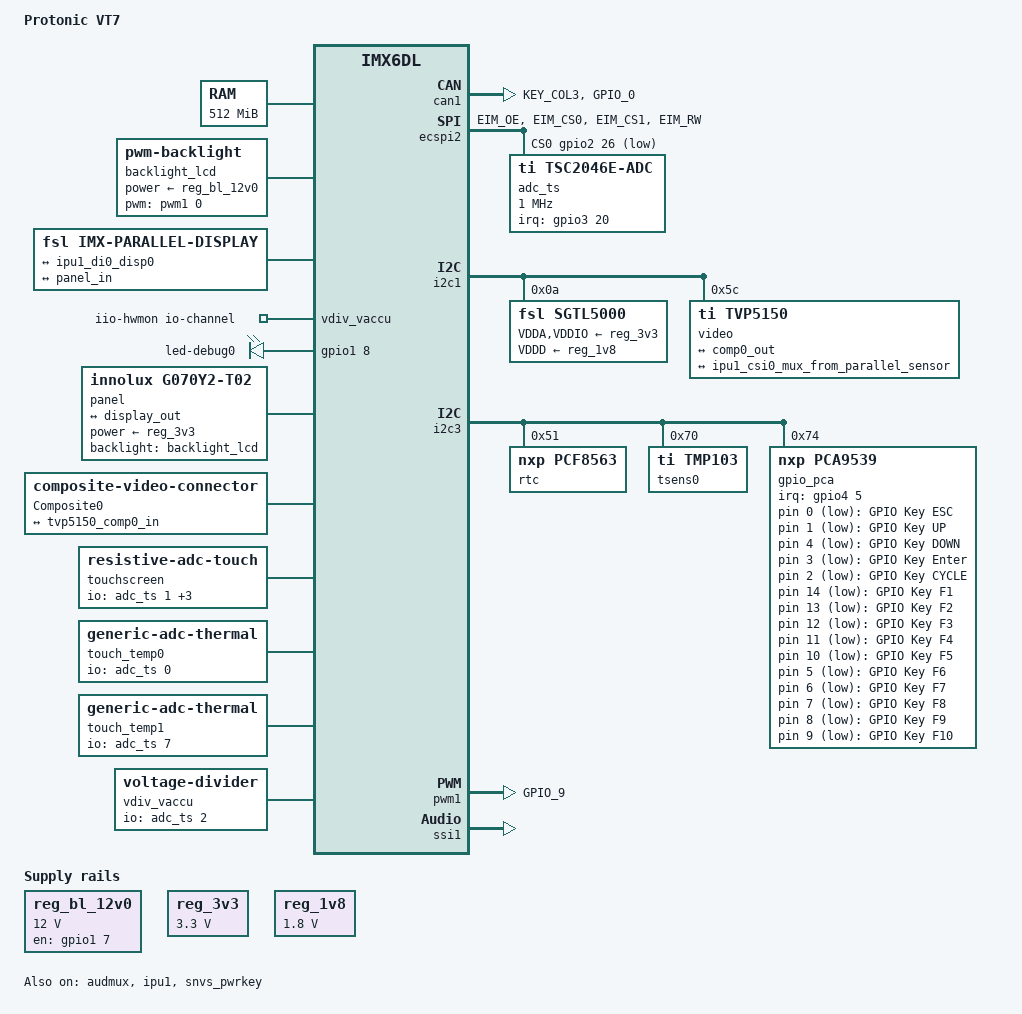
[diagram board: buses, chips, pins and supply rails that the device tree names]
// SPDX-License-Identifier: GPL-2.0-or-later OR MIT
/*
 * Copyright (c) 2016 Protonic Holland
 */

/dts-v1/;
#include "imx6dl.dtsi"
#include "imx6qdl-prti6q.dtsi"
#include <dt-bindings/display/sdtv-standards.h>
#include <dt-bindings/input/input.h>
#include <dt-bindings/leds/common.h>
#include <dt-bindings/sound/fsl-imx-audmux.h>

/ {
	model = "Protonic VT7";
	compatible = "prt,prtvt7", "fsl,imx6dl";

	memory@10000000 {
		device_type = "memory";
		reg = <0x10000000 0x20000000>;
	};

	backlight_lcd: backlight-lcd {
		compatible = "pwm-backlight";
		pwms = <&pwm1 0 500000 0>;
		brightness-levels = <0 20 81 248 1000>;
		default-brightness-level = <20>;
		num-interpolated-steps = <21>;
		power-supply = <&reg_bl_12v0>;
	};

	display {
		compatible = "fsl,imx-parallel-display";
		pinctrl-0 = <&pinctrl_ipu1_disp>;
		pinctrl-names = "default";
		#address-cells = <1>;
		#size-cells = <0>;

		port@0 {
			reg = <0>;

			display_in: endpoint {
				remote-endpoint = <&ipu1_di0_disp0>;
			};
		};

		port@1 {
			reg = <1>;

			display_out: endpoint {
				remote-endpoint = <&panel_in>;
			};
		};
	};

	iio-hwmon {
		compatible = "iio-hwmon";
		io-channels = <&vdiv_vaccu>;
	};

	keys {
		compatible = "gpio-keys";
		autorepeat;

		key-esc {
			label = "GPIO Key ESC";
			linux,code = <KEY_ESC>;
			gpios = <&gpio_pca 0 GPIO_ACTIVE_LOW>;
		};

		key-up {
			label = "GPIO Key UP";
			linux,code = <KEY_UP>;
			gpios = <&gpio_pca 1 GPIO_ACTIVE_LOW>;
		};

		key-down {
			label = "GPIO Key DOWN";
			linux,code = <KEY_DOWN>;
			gpios = <&gpio_pca 4 GPIO_ACTIVE_LOW>;
		};

		key-enter {
			label = "GPIO Key Enter";
			linux,code = <KEY_ENTER>;
			gpios = <&gpio_pca 3 GPIO_ACTIVE_LOW>;
		};

		key-cycle {
			label = "GPIO Key CYCLE";
			linux,code = <KEY_CYCLEWINDOWS>;
			gpios = <&gpio_pca 2 GPIO_ACTIVE_LOW>;
		};

		key-f1 {
			label = "GPIO Key F1";
			linux,code = <KEY_F1>;
			gpios = <&gpio_pca 14 GPIO_ACTIVE_LOW>;
		};

		key-f2 {
			label = "GPIO Key F2";
			linux,code = <KEY_F2>;
			gpios = <&gpio_pca 13 GPIO_ACTIVE_LOW>;
		};

		key-f3 {
			label = "GPIO Key F3";
			linux,code = <KEY_F3>;
			gpios = <&gpio_pca 12 GPIO_ACTIVE_LOW>;
		};

		key-f4 {
			label = "GPIO Key F4";
			linux,code = <KEY_F4>;
			gpios = <&gpio_pca 11 GPIO_ACTIVE_LOW>;
		};

		key-f5 {
			label = "GPIO Key F5";
			linux,code = <KEY_F5>;
			gpios = <&gpio_pca 10 GPIO_ACTIVE_LOW>;
		};

		key-f6 {
			label = "GPIO Key F6";
			linux,code = <KEY_F6>;
			gpios = <&gpio_pca 5 GPIO_ACTIVE_LOW>;
		};

		key-f7 {
			label = "GPIO Key F7";
			linux,code = <KEY_F7>;
			gpios = <&gpio_pca 6 GPIO_ACTIVE_LOW>;
		};

		key-f8 {
			label = "GPIO Key F8";
			linux,code = <KEY_F8>;
			gpios = <&gpio_pca 7 GPIO_ACTIVE_LOW>;
		};

		key-f9 {
			label = "GPIO Key F9";
			linux,code = <KEY_F9>;
			gpios = <&gpio_pca 8 GPIO_ACTIVE_LOW>;
		};

		key-f10 {
			label = "GPIO Key F10";
			linux,code = <KEY_F10>;
			gpios = <&gpio_pca 9 GPIO_ACTIVE_LOW>;
		};
	};

	leds {
		compatible = "gpio-leds";
		pinctrl-names = "default";
		pinctrl-0 = <&pinctrl_leds>;

		led-debug0 {
			function = LED_FUNCTION_STATUS;
			gpios = <&gpio1 8 GPIO_ACTIVE_HIGH>;
			linux,default-trigger = "heartbeat";
		};
	};

	panel {
		compatible = "innolux,g070y2-t02";
		backlight = <&backlight_lcd>;
		power-supply = <&reg_3v3>;

		port {
			panel_in: endpoint {
				remote-endpoint = <&display_out>;
			};
		};
	};

	connector {
		compatible = "composite-video-connector";
		label = "Composite0";
		sdtv-standards = <SDTV_STD_PAL_B>;

		port {
			comp0_out: endpoint {
				remote-endpoint = <&tvp5150_comp0_in>;
			};
		};
	};

	reg_bl_12v0: regulator-bl-12v0 {
		compatible = "regulator-fixed";
		pinctrl-names = "default";
		pinctrl-0 = <&pinctrl_reg_bl_12v0>;
		regulator-name = "bl-12v0";
		regulator-min-microvolt = <12000000>;
		regulator-max-microvolt = <12000000>;
		gpio = <&gpio1 7 GPIO_ACTIVE_HIGH>;
		enable-active-high;
	};

	reg_3v3: regulator-3v3 {
		compatible = "regulator-fixed";
		regulator-name = "3v3";
		regulator-min-microvolt = <3300000>;
		regulator-max-microvolt = <3300000>;
	};

	reg_1v8: regulator-1v8 {
		compatible = "regulator-fixed";
		regulator-name = "1v8";
		regulator-min-microvolt = <1800000>;
		regulator-max-microvolt = <1800000>;
	};

	sound {
		compatible = "simple-audio-card";
		simple-audio-card,name = "prti6q-sgtl5000";
		simple-audio-card,format = "i2s";
		simple-audio-card,widgets =
			"Microphone", "Microphone Jack",
			"Line", "Line In Jack",
			"Headphone", "Headphone Jack",
			"Speaker", "External Speaker";
		simple-audio-card,routing =
			"MIC_IN", "Microphone Jack",
			"LINE_IN", "Line In Jack",
			"Headphone Jack", "HP_OUT",
			"External Speaker", "LINE_OUT";

		simple-audio-card,cpu {
			sound-dai = <&ssi1>;
			system-clock-frequency = <0>;
		};

		simple-audio-card,codec {
			sound-dai = <&sgtl5000>;
			bitclock-master;
			frame-master;
		};
	};

	thermal-zones {
		chassis-thermal {
			polling-delay = <20000>;
			polling-delay-passive = <0>;
			thermal-sensors = <&tsens0>;
		};

		touch-thermal0 {
			polling-delay = <20000>;
			polling-delay-passive = <0>;
			thermal-sensors = <&touch_temp0>;
		};

		touch-thermal1 {
			polling-delay = <20000>;
			polling-delay-passive = <0>;
			thermal-sensors = <&touch_temp1>;
		};
	};

	touchscreen {
		compatible = "resistive-adc-touch";
		io-channels = <&adc_ts 1>, <&adc_ts 3>, <&adc_ts 4>,
                              <&adc_ts 5>;
		io-channel-names = "y", "z1", "z2", "x";
		touchscreen-min-pressure = <64687>;
		touchscreen-inverted-x;
		touchscreen-inverted-y;
		touchscreen-x-plate-ohms = <300>;
		touchscreen-y-plate-ohms = <800>;
	};

	touch_temp0: touch-temperature-sensor0 {
		compatible = "generic-adc-thermal";
		#thermal-sensor-cells = <0>;
		io-channels = <&adc_ts 0>;
		io-channel-names = "sensor-channel";
		temperature-lookup-table = <    (-40000) 736
						85000 474>;
	};

	touch_temp1: touch-temperature-sensor1 {
		compatible = "generic-adc-thermal";
		#thermal-sensor-cells = <0>;
		io-channels = <&adc_ts 7>;
		io-channel-names = "sensor-channel";
		temperature-lookup-table = <    (-40000) 826
						85000 609>;
	};

	vdiv_vaccu: voltage-divider-vaccu {
		compatible = "voltage-divider";
		io-channels = <&adc_ts 2>;
		output-ohms = <2500>;
		full-ohms = <64000>;
		#io-channel-cells = <0>;
	};
};

&audmux {
	pinctrl-names = "default";
	pinctrl-0 = <&pinctrl_audmux>;
	status = "okay";

	mux-ssi1 {
		fsl,audmux-port = <0>;
		fsl,port-config = <
			IMX_AUDMUX_V2_PTCR_SYN		0
			IMX_AUDMUX_V2_PTCR_TFSEL(2)	0
			IMX_AUDMUX_V2_PTCR_TCSEL(2)	0
			IMX_AUDMUX_V2_PTCR_TFSDIR	0
			IMX_AUDMUX_V2_PTCR_TCLKDIR IMX_AUDMUX_V2_PDCR_RXDSEL(2)
		>;
	};

	mux-pins3 {
		fsl,audmux-port = <2>;
		fsl,port-config = <
			IMX_AUDMUX_V2_PTCR_SYN IMX_AUDMUX_V2_PDCR_RXDSEL(0)
			0		       IMX_AUDMUX_V2_PDCR_TXRXEN
		>;
	};
};

&can1 {
	pinctrl-0 = <&pinctrl_can1 &pinctrl_can1phy>;
};

&clks {
	assigned-clocks = <&clks IMX6QDL_CLK_LDB_DI0_SEL>;
	assigned-clock-parents = <&clks IMX6QDL_CLK_PLL5_VIDEO_DIV>;
};

&ecspi2 {
	cs-gpios = <&gpio2 26 GPIO_ACTIVE_LOW>;
	pinctrl-names = "default";
	pinctrl-0 = <&pinctrl_ecspi2>;
	status = "okay";

	adc_ts: adc@0 {
		compatible = "ti,tsc2046e-adc";
		reg = <0>;
		pinctrl-0 = <&pinctrl_tsc>;
		pinctrl-names = "default";
		spi-max-frequency = <1000000>;
		interrupts-extended = <&gpio3 20 IRQ_TYPE_LEVEL_LOW>;
		#io-channel-cells = <1>;

		#address-cells = <1>;
		#size-cells = <0>;

		channel@1 {
			reg = <1>;
			settling-time-us = <700>;
			oversampling-ratio = <5>;
		};

		channel@3 {
			reg = <3>;
			settling-time-us = <700>;
			oversampling-ratio = <5>;
		};

		channel@4 {
			reg = <4>;
			settling-time-us = <700>;
			oversampling-ratio = <5>;
		};

		channel@5 {
			reg = <5>;
			settling-time-us = <700>;
			oversampling-ratio = <5>;
		};
	};
};

&i2c1 {
	sgtl5000: audio-codec@a {
		compatible = "fsl,sgtl5000";
		reg = <0xa>;
		pinctrl-names = "default";
		pinctrl-0 = <&pinctrl_codec>;
		#sound-dai-cells = <0>;
		clocks = <&clks 201>;
		VDDA-supply = <&reg_3v3>;
		VDDIO-supply = <&reg_3v3>;
		VDDD-supply = <&reg_1v8>;
	};

	video@5c {
		compatible = "ti,tvp5150";
		reg = <0x5c>;

		#address-cells = <1>;
		#size-cells = <0>;

		port@0 {
			reg = <0>;

			tvp5150_comp0_in: endpoint {
				remote-endpoint = <&comp0_out>;
			};
		};

		/* Output port 2 is video output pad */
		port@2 {
			reg = <2>;

			tvp5151_to_ipu1_csi0_mux: endpoint {
				remote-endpoint = <&ipu1_csi0_mux_from_parallel_sensor>;
			};
		};
	};
};

&i2c3 {
	rtc@51 {
		compatible = "nxp,pcf8563";
		reg = <0x51>;
	};

	tsens0: temperature-sensor@70 {
		compatible = "ti,tmp103";
		reg = <0x70>;
		#thermal-sensor-cells = <0>;
	};

	gpio_pca: gpio@74 {
		compatible = "nxp,pca9539";
		reg = <0x74>;
		interrupts-extended = <&gpio4 5 IRQ_TYPE_LEVEL_LOW>;
		#gpio-cells = <2>;
		gpio-controller;
	};
};

&ipu1 {
	pinctrl-names = "default";
	pinctrl-0 = <&pinctrl_ipu1_csi0>;
	status = "okay";
};

&ipu1_di0_disp0 {
	remote-endpoint = <&display_in>;
};

&ipu1_csi0_mux_from_parallel_sensor {
	remote-endpoint = <&tvp5151_to_ipu1_csi0_mux>;
};

&pwm1 {
	pinctrl-names = "default";
	pinctrl-0 = <&pinctrl_pwm1>;
	status = "okay";
};

&snvs_poweroff {
	status = "okay";
};

&snvs_pwrkey {
	status = "okay";
};

&ssi1 {
	status = "okay";
};

&usbh1 {
	status = "disabled";
};

&iomuxc {
	pinctrl_audmux: audmuxgrp {
		fsl,pins = <
			MX6QDL_PAD_CSI0_MCLK__CCM_CLKO1		0x030b0
			MX6QDL_PAD_CSI0_DAT7__AUD3_RXD		0x130b0
			MX6QDL_PAD_CSI0_DAT4__AUD3_TXC		0x130b0
			MX6QDL_PAD_CSI0_DAT5__AUD3_TXD		0x110b0
			MX6QDL_PAD_CSI0_DAT6__AUD3_TXFS		0x130b0
		>;
	};

	pinctrl_can1phy: can1phy {
		fsl,pins = <
			/* CAN1_SR */
			MX6QDL_PAD_KEY_COL3__GPIO4_IO12		0x13070
			/* CAN1_TERM */
			MX6QDL_PAD_GPIO_0__GPIO1_IO00		0x1b0b0
		>;
	};

	pinctrl_codec: codecgrp {
		fsl,pins = <
			/* AUDIO_nRESET */
			MX6QDL_PAD_CSI0_VSYNC__GPIO5_IO21	0x1f0b0
		>;
	};

	pinctrl_ecspi2: ecspi2grp {
		fsl,pins = <
			MX6QDL_PAD_EIM_OE__ECSPI2_MISO		0x100b1
			MX6QDL_PAD_EIM_CS0__ECSPI2_SCLK		0x100b1
			MX6QDL_PAD_EIM_CS1__ECSPI2_MOSI		0x100b1
			MX6QDL_PAD_EIM_RW__GPIO2_IO26		0x000b1
		>;
	};

	pinctrl_ipu1_csi0: ipu1csi0grp {
		fsl,pins = <
			MX6QDL_PAD_CSI0_DAT12__IPU1_CSI0_DATA12	0x1b0b0
			MX6QDL_PAD_CSI0_DAT13__IPU1_CSI0_DATA13	0x1b0b0
			MX6QDL_PAD_CSI0_DAT14__IPU1_CSI0_DATA14	0x1b0b0
			MX6QDL_PAD_CSI0_DAT15__IPU1_CSI0_DATA15	0x1b0b0
			MX6QDL_PAD_CSI0_DAT16__IPU1_CSI0_DATA16	0x1b0b0
			MX6QDL_PAD_CSI0_DAT17__IPU1_CSI0_DATA17	0x1b0b0
			MX6QDL_PAD_CSI0_DAT18__IPU1_CSI0_DATA18	0x1b0b0
			MX6QDL_PAD_CSI0_DAT19__IPU1_CSI0_DATA19	0x1b0b0
			MX6QDL_PAD_CSI0_PIXCLK__IPU1_CSI0_PIXCLK 0x1b0b0
			/* ITU656_nRESET */
			MX6QDL_PAD_GPIO_2__GPIO1_IO02		0x1b0b0
			/* ITU656_nPDN */
			MX6QDL_PAD_CSI0_DATA_EN__GPIO5_IO20	0x1b0b0
		>;
	};

	pinctrl_ipu1_disp: ipudisp1grp {
		fsl,pins = <
			MX6QDL_PAD_DI0_DISP_CLK__IPU1_DI0_DISP_CLK 0xb0
			MX6QDL_PAD_DI0_PIN15__IPU1_DI0_PIN15	   0xb0

			MX6QDL_PAD_DISP0_DAT0__IPU1_DISP0_DATA00 0xb0
			MX6QDL_PAD_DISP0_DAT1__IPU1_DISP0_DATA01 0xb0
			MX6QDL_PAD_DISP0_DAT2__IPU1_DISP0_DATA02 0xb0
			MX6QDL_PAD_DISP0_DAT3__IPU1_DISP0_DATA03 0xb0
			MX6QDL_PAD_DISP0_DAT4__IPU1_DISP0_DATA04 0xb0
			MX6QDL_PAD_DISP0_DAT5__IPU1_DISP0_DATA05 0xb0
			MX6QDL_PAD_DISP0_DAT6__IPU1_DISP0_DATA06 0xb0
			MX6QDL_PAD_DISP0_DAT7__IPU1_DISP0_DATA07 0xb0

			MX6QDL_PAD_DISP0_DAT8__IPU1_DISP0_DATA08 0xb0
			MX6QDL_PAD_DISP0_DAT9__IPU1_DISP0_DATA09 0xb0
			MX6QDL_PAD_DISP0_DAT10__IPU1_DISP0_DATA10 0xb0
			MX6QDL_PAD_DISP0_DAT11__IPU1_DISP0_DATA11 0xb0
			MX6QDL_PAD_DISP0_DAT12__IPU1_DISP0_DATA12 0xb0
			MX6QDL_PAD_DISP0_DAT13__IPU1_DISP0_DATA13 0xb0
			MX6QDL_PAD_DISP0_DAT14__IPU1_DISP0_DATA14 0xb0
			MX6QDL_PAD_DISP0_DAT15__IPU1_DISP0_DATA15 0xb0

			MX6QDL_PAD_DISP0_DAT16__IPU1_DISP0_DATA16 0xb0
			MX6QDL_PAD_DISP0_DAT17__IPU1_DISP0_DATA17 0xb0
			MX6QDL_PAD_DISP0_DAT18__IPU1_DISP0_DATA18 0xb0
			MX6QDL_PAD_DISP0_DAT19__IPU1_DISP0_DATA19 0xb0
			MX6QDL_PAD_DISP0_DAT20__IPU1_DISP0_DATA20 0xb0
			MX6QDL_PAD_DISP0_DAT21__IPU1_DISP0_DATA21 0xb0
			MX6QDL_PAD_DISP0_DAT22__IPU1_DISP0_DATA22 0xb0
			MX6QDL_PAD_DISP0_DAT23__IPU1_DISP0_DATA23 0xb0
		>;
	};

	pinctrl_leds: ledsgrp {
		fsl,pins = <
			MX6QDL_PAD_GPIO_8__GPIO1_IO08		0x1b0b0
		>;
	};

	pinctrl_pwm1: pwm1grp {
		fsl,pins = <
			MX6QDL_PAD_GPIO_9__PWM1_OUT		0x1b0b0
		>;
	};

	pinctrl_reg_bl_12v0: 12blgrp {
		fsl,pins = <
			MX6QDL_PAD_GPIO_7__GPIO1_IO07		0x1b0b0
		>;
	};

	pinctrl_tsc: tscgrp {

		fsl,pins = <
			MX6QDL_PAD_EIM_D20__GPIO3_IO20		0x1b0b0
			MX6QDL_PAD_EIM_EB2__GPIO2_IO30		0x1b0b0
		>;
	};
};
